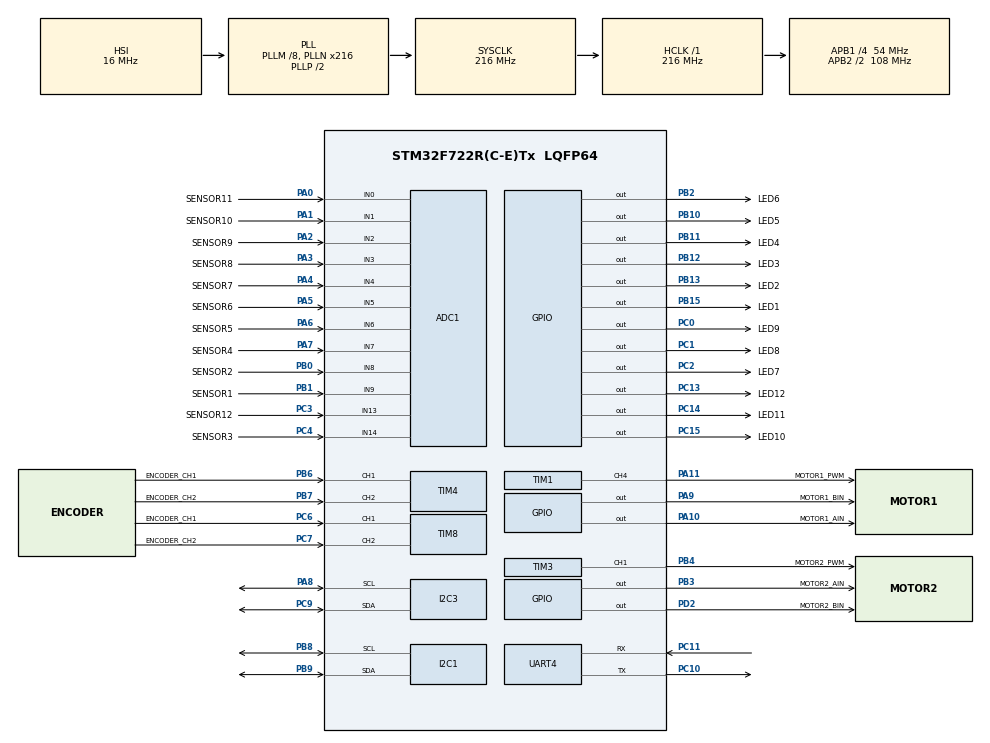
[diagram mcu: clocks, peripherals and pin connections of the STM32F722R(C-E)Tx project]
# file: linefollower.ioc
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ADC1.Channel-0\#ChannelRegularConversion=ADC_CHANNEL_9
ADC1.Channel-1\#ChannelRegularConversion=ADC_CHANNEL_8
ADC1.Channel-10\#ChannelRegularConversion=ADC_CHANNEL_0
ADC1.Channel-11\#ChannelRegularConversion=ADC_CHANNEL_13
ADC1.Channel-2\#ChannelRegularConversion=ADC_CHANNEL_14
ADC1.Channel-3\#ChannelRegularConversion=ADC_CHANNEL_7
ADC1.Channel-4\#ChannelRegularConversion=ADC_CHANNEL_6
ADC1.Channel-5\#ChannelRegularConversion=ADC_CHANNEL_5
ADC1.Channel-6\#ChannelRegularConversion=ADC_CHANNEL_4
ADC1.Channel-7\#ChannelRegularConversion=ADC_CHANNEL_3
ADC1.Channel-8\#ChannelRegularConversion=ADC_CHANNEL_2
ADC1.Channel-9\#ChannelRegularConversion=ADC_CHANNEL_1
ADC1.ContinuousConvMode=DISABLE
ADC1.DMAContinuousRequests=ENABLE
ADC1.EOCSelection=ADC_EOC_SINGLE_CONV
ADC1.ExternalTrigConv=ADC_EXTERNALTRIGCONV_T2_TRGO
ADC1.NbrOfConversion=12
ADC1.NbrOfConversionFlag=1
ADC1.Rank-0\#ChannelRegularConversion=1
ADC1.Rank-1\#ChannelRegularConversion=2
ADC1.Rank-10\#ChannelRegularConversion=11
ADC1.Rank-11\#ChannelRegularConversion=12
ADC1.Rank-2\#ChannelRegularConversion=3
ADC1.Rank-3\#ChannelRegularConversion=4
ADC1.Rank-4\#ChannelRegularConversion=5
ADC1.Rank-5\#ChannelRegularConversion=6
ADC1.Rank-6\#ChannelRegularConversion=7
ADC1.Rank-7\#ChannelRegularConversion=8
ADC1.Rank-8\#ChannelRegularConversion=9
ADC1.Rank-9\#ChannelRegularConversion=10
ADC1.SamplingTime-0\#ChannelRegularConversion=ADC_SAMPLETIME_28CYCLES
ADC1.SamplingTime-1\#ChannelRegularConversion=ADC_SAMPLETIME_28CYCLES
ADC1.SamplingTime-10\#ChannelRegularConversion=ADC_SAMPLETIME_28CYCLES
ADC1.SamplingTime-11\#ChannelRegularConversion=ADC_SAMPLETIME_28CYCLES
ADC1.SamplingTime-2\#ChannelRegularConversion=ADC_SAMPLETIME_28CYCLES
ADC1.SamplingTime-3\#ChannelRegularConversion=ADC_SAMPLETIME_28CYCLES
ADC1.SamplingTime-4\#ChannelRegularConversion=ADC_SAMPLETIME_28CYCLES
ADC1.SamplingTime-5\#ChannelRegularConversion=ADC_SAMPLETIME_28CYCLES
ADC1.SamplingTime-6\#ChannelRegularConversion=ADC_SAMPLETIME_28CYCLES
ADC1.SamplingTime-7\#ChannelRegularConversion=ADC_SAMPLETIME_28CYCLES
ADC1.SamplingTime-8\#ChannelRegularConversion=ADC_SAMPLETIME_28CYCLES
ADC1.SamplingTime-9\#ChannelRegularConversion=ADC_SAMPLETIME_28CYCLES
ADC1.ScanConvMode=ADC_SCAN_ENABLE
ADC1.master=1
CORTEX_M7.CPU_ICache=Disabled
CORTEX_M7.FlashInterface=AXI_Enabled
CORTEX_M7.IsCacheable_Spec=MPU_ACCESS_NOT_CACHEABLE
CORTEX_M7.default_mode_Activation=1
Dma.ADC1.1.Direction=DMA_PERIPH_TO_MEMORY
Dma.ADC1.1.FIFOMode=DMA_FIFOMODE_DISABLE
Dma.ADC1.1.Instance=DMA2_Stream0
Dma.ADC1.1.MemDataAlignment=DMA_MDATAALIGN_HALFWORD
Dma.ADC1.1.MemInc=DMA_MINC_ENABLE
Dma.ADC1.1.Mode=DMA_CIRCULAR
Dma.ADC1.1.PeriphDataAlignment=DMA_PDATAALIGN_HALFWORD
Dma.ADC1.1.PeriphInc=DMA_PINC_DISABLE
Dma.ADC1.1.Priority=DMA_PRIORITY_MEDIUM
Dma.Request0=UART4_RX
Dma.Request1=ADC1
Dma.UART4_RX.0.Direction=DMA_PERIPH_TO_MEMORY
Dma.UART4_RX.0.FIFOMode=DMA_FIFOMODE_DISABLE
Dma.UART4_RX.0.Instance=DMA1_Stream2
Dma.UART4_RX.0.MemDataAlignment=DMA_MDATAALIGN_BYTE
Dma.UART4_RX.0.MemInc=DMA_MINC_ENABLE
Dma.UART4_RX.0.Mode=DMA_NORMAL
Dma.UART4_RX.0.PeriphDataAlignment=DMA_PDATAALIGN_BYTE
Dma.UART4_RX.0.PeriphInc=DMA_PINC_DISABLE
Dma.UART4_RX.0.Priority=DMA_PRIORITY_MEDIUM
I2C1.Timing=0x20404768
I2C3.Timing=0x20404768
Mcu.Family=STM32F7
Mcu.Name=STM32F722R(C-E)Tx
Mcu.Package=LQFP64
NVIC.DMA1_Stream2_IRQn=true\:9\:0\:true\:false\:true\:false\:true\:true
NVIC.DMA2_Stream0_IRQn=true\:6\:0\:true\:false\:true\:false\:true\:true
NVIC.PriorityGroup=NVIC_PRIORITYGROUP_4
NVIC.TIM6_DAC_IRQn=true\:5\:0\:true\:false\:true\:true\:true\:true
NVIC.UART4_IRQn=true\:7\:0\:true\:false\:true\:true\:true\:true
PA0-WKUP.GPIO_Label=SENSOR11
PA0-WKUP.Signal=ADCx_IN0
PA1.GPIO_Label=SENSOR10
PA1.Signal=ADCx_IN1
PA10.GPIO_Label=MOTOR1_AIN
PA10.Signal=GPIO_Output
PA11.GPIO_Label=MOTOR1_PWM
PA11.Signal=S_TIM1_CH4
PA13.Mode=Serial_Wire
PA13.Signal=SYS_JTMS-SWDIO
PA14.Mode=Serial_Wire
PA14.Signal=SYS_JTCK-SWCLK
PA2.GPIO_Label=SENSOR9
PA2.Signal=ADCx_IN2
PA3.GPIO_Label=SENSOR8
PA3.Signal=ADCx_IN3
PA4.GPIO_Label=SENSOR7
PA4.Signal=ADCx_IN4
PA5.GPIO_Label=SENSOR6
PA5.Signal=ADCx_IN5
PA6.GPIO_Label=SENSOR5
PA6.Signal=ADCx_IN6
PA7.GPIO_Label=SENSOR4
PA7.Signal=ADCx_IN7
PA8.Mode=I2C
PA8.Signal=I2C3_SCL
PA9.GPIO_Label=MOTOR1_BIN
PA9.Signal=GPIO_Output
PB0.GPIO_Label=SENSOR2
PB0.Signal=ADCx_IN8
PB1.GPIO_Label=SENSOR1
PB1.Signal=ADCx_IN9
PB10.GPIO_Label=LED5
PB10.Signal=GPIO_Output
PB11.GPIO_Label=LED4
PB11.Signal=GPIO_Output
PB12.GPIO_Label=LED3
PB12.Signal=GPIO_Output
PB13.GPIO_Label=LED2
PB13.Signal=GPIO_Output
PB15.GPIO_Label=LED1
PB15.Signal=GPIO_Output
PB2.GPIO_Label=LED6
PB2.Signal=GPIO_Output
PB3.GPIO_Label=MOTOR2_AIN
PB3.Signal=GPIO_Output
PB4.GPIO_Label=MOTOR2_PWM
PB4.Signal=S_TIM3_CH1
PB6.GPIO_Label=ENCODER_CH1
PB6.Signal=S_TIM4_CH1
PB7.GPIO_Label=ENCODER_CH2
PB7.Signal=S_TIM4_CH2
PB8.Mode=I2C
PB8.Signal=I2C1_SCL
PB9.Mode=I2C
PB9.Signal=I2C1_SDA
PC0.GPIO_Label=LED9
PC0.Signal=GPIO_Output
PC1.GPIO_Label=LED8
PC1.Signal=GPIO_Output
PC10.Mode=Asynchronous
PC10.Signal=UART4_TX
PC11.Mode=Asynchronous
PC11.Signal=UART4_RX
PC13.GPIO_Label=LED12
PC13.Signal=GPIO_Output
PC14-OSC32_IN.GPIO_Label=LED11
PC14-OSC32_IN.Signal=GPIO_Output
PC15-OSC32_OUT.GPIO_Label=LED10
PC15-OSC32_OUT.Signal=GPIO_Output
PC2.GPIO_Label=LED7
PC2.Signal=GPIO_Output
PC3.GPIO_Label=SENSOR12
PC3.Signal=ADCx_IN13
PC4.GPIO_Label=SENSOR3
PC4.Signal=ADCx_IN14
PC6.GPIO_Label=ENCODER_CH1
PC6.Signal=S_TIM8_CH1
PC7.GPIO_Label=ENCODER_CH2
PC7.Signal=S_TIM8_CH2
PC9.Mode=I2C
PC9.Signal=I2C3_SDA
PD2.GPIO_Label=MOTOR2_BIN
PD2.Signal=GPIO_Output
PH0-OSC_IN.Mode=HSE-External-Oscillator
PH0-OSC_IN.Signal=RCC_OSC_IN
PH1-OSC_OUT.Mode=HSE-External-Oscillator
PH1-OSC_OUT.Signal=RCC_OSC_OUT
ProjectManager.HeapSize=0x200
ProjectManager.StackSize=0x400
ProjectManager.TargetToolchain=Makefile
RCC.AHBFreq_Value=216000000
RCC.APB1CLKDivider=RCC_HCLK_DIV4
RCC.APB1Freq_Value=54000000
RCC.APB1TimFreq_Value=108000000
RCC.APB2CLKDivider=RCC_HCLK_DIV2
RCC.APB2Freq_Value=108000000
RCC.APB2TimFreq_Value=216000000
RCC.CortexFreq_Value=216000000
RCC.HCLKFreq_Value=216000000
RCC.HSE_VALUE=25000000
RCC.HSI_VALUE=16000000
RCC.LSE_VALUE=32768
RCC.PLLM=8
RCC.PLLN=216
RCC.SYSCLKFreq_VALUE=216000000
RCC.SYSCLKSource=RCC_SYSCLKSOURCE_PLLCLK
RCC.USBFreq_Value=216000000
RCC.VCOOutputFreq_Value=432000000
SH.ADCx_IN0.0=ADC1_IN0,IN0
SH.ADCx_IN1.0=ADC1_IN1,IN1
SH.ADCx_IN13.0=ADC1_IN13,IN13
SH.ADCx_IN14.0=ADC1_IN14,IN14
SH.ADCx_IN2.0=ADC1_IN2,IN2
SH.ADCx_IN3.0=ADC1_IN3,IN3
SH.ADCx_IN4.0=ADC1_IN4,IN4
SH.ADCx_IN5.0=ADC1_IN5,IN5
SH.ADCx_IN6.0=ADC1_IN6,IN6
SH.ADCx_IN7.0=ADC1_IN7,IN7
SH.ADCx_IN8.0=ADC1_IN8,IN8
SH.ADCx_IN9.0=ADC1_IN9,IN9
SH.S_TIM1_CH4.0=TIM1_CH4,PWM Generation4 CH4
SH.S_TIM3_CH1.0=TIM3_CH1,PWM Generation1 CH1
SH.S_TIM4_CH1.0=TIM4_CH1,Encoder_Interface
SH.S_TIM4_CH2.0=TIM4_CH2,Encoder_Interface
SH.S_TIM8_CH1.0=TIM8_CH1,Encoder_Interface
SH.S_TIM8_CH2.0=TIM8_CH2,Encoder_Interface
TIM1.Channel-PWM\ Generation4\ CH4=TIM_CHANNEL_4
TIM1.Period=999
TIM1.Prescaler=2
TIM2.Period=249
TIM2.Prescaler=2159
TIM2.TIM_MasterOutputTrigger=TIM_TRGO_UPDATE
TIM3.Channel-PWM\ Generation1\ CH1=TIM_CHANNEL_1
TIM3.Period=999
TIM3.Prescaler=2
TIM6.Period=2499
TIM6.Prescaler=2159
TIM8.IC2Filter=0
VP_CRC_VS_CRC.Mode=CRC_Activate
VP_TIM2_VS_ClockSourceINT.Mode=Internal
VP_TIM6_VS_ClockSourceINT.Mode=Enable_Timer
board=custom

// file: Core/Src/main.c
/* USER CODE BEGIN Header */
/**
  ******************************************************************************
  * @file           : main.c
  * @brief          : Main program body
  ******************************************************************************
  * @attention
  *
  * Copyright (c) 2024 STMicroelectronics.
  * All rights reserved.
  *
  * This software is licensed under terms that can be found in the LICENSE file
  * in the root directory of this software component.
  * If no LICENSE file comes with this software, it is provided AS-IS.
  *
  ******************************************************************************
  */
/* USER CODE END Header */
#include "main.h"
#include "adc.h"
#include "crc.h"
#include "dma.h"
#include "i2c.h"
#include "tim.h"
#include "usart.h"
#include "gpio.h"

/* USER CODE BEGIN Includes */
#include "lf_main.h"
/* USER CODE END Includes */

/* USER CODE BEGIN PV */
extern const Sensors_Config_T sensorsConfig;

static NVM_Layout_T NvmBlock;
static uint8_t ScpBuffer[SCP_BUFFER_SIZE];

LineFollower_T LineFollower = {
    .debugModeTimer = &htim6,
    .cycleCountReg = &DWT->CYCCNT,
    .nvmInstance = {
        .defaultData = (const uint8_t *)&NvmDefaultData,
        .size = sizeof(NVM_Layout_T),
        .sector = NVM_SECTOR_USED
    },
    .nvmBlock = &NvmBlock,
    .scpInstance = {
        .buffer = ScpBuffer,
        .size = SCP_BUFFER_SIZE,
        .huart = &huart4,
        .commands = lineFollowerCommands,
        .numCommands = sizeof(lineFollowerCommands) / sizeof(lineFollowerCommands[0]),
        .errorHandler = NULL
    },
    .pidSensorInstance = {
        .settings = &NvmBlock.pidStgSensor
    },
    .pidEncoderLeftInstance = {
      .settings =&NvmBlock.pidStgEncoderLeft
    },
    .pidEncoderRightInstance = {
      .settings =&NvmBlock.pidStgEncoderRight
    },
    .encoderLeft = {
      .settings = &encoderSettings,
      .htim = &htim8
    },
    .encoderRight = {
      .settings = &encoderSettings,
      .htim = &htim4
    },
    .sensorsInstance = {
      .config = &sensorsConfig
    },
    .motorLeft = &LeftMotor,
    .motorRight = &RightMotor
};
/* USER CODE END PV */

void SystemClock_Config(void);
static void MPU_Config(void);

/* USER CODE BEGIN 0 */
void HAL_TIM_PeriodElapsedCallback(TIM_HandleTypeDef *htim)
{
    if (htim == &htim6)
    {
        LF_DebugModeTimerCallback(&LineFollower);
    }
}
/* USER CODE END 0 */

int main(void)
{

  /* MPU Configuration--------------------------------------------------------*/
  MPU_Config();

  /* MCU Configuration--------------------------------------------------------*/

  /* Reset of all peripherals, Initializes the Flash interface and the Systick. */
  HAL_Init();

  /* Configure the system clock */
  SystemClock_Config();

  /* Initialize all configured peripherals */
  MX_GPIO_Init();
  MX_DMA_Init();
  MX_ADC1_Init();
  MX_I2C1_Init();
  MX_UART4_Init();
  MX_TIM3_Init();
  MX_TIM4_Init();
  MX_I2C3_Init();
  MX_TIM1_Init();
  MX_TIM8_Init();
  MX_CRC_Init();
  MX_TIM2_Init();
  MX_TIM6_Init();
  /* USER CODE BEGIN 2 */
  LF_Init(&LineFollower);
  __enable_irq();
  /* USER CODE END 2 */

  /* Infinite loop */
  /* USER CODE BEGIN WHILE */
  while (1)
  {
    LF_MainFunction(&LineFollower);
    /* USER CODE END WHILE */

  }
}

void SystemClock_Config(void)
{
  RCC_OscInitTypeDef RCC_OscInitStruct = {0};
  RCC_ClkInitTypeDef RCC_ClkInitStruct = {0};

  /** Configure the main internal regulator output voltage
  */
  __HAL_RCC_PWR_CLK_ENABLE();
  __HAL_PWR_VOLTAGESCALING_CONFIG(PWR_REGULATOR_VOLTAGE_SCALE1);

  /** Initializes the RCC Oscillators according to the specified parameters
  * in the RCC_OscInitTypeDef structure.
  */
  RCC_OscInitStruct.OscillatorType = RCC_OSCILLATORTYPE_HSI;
  RCC_OscInitStruct.HSIState = RCC_HSI_ON;
  RCC_OscInitStruct.HSICalibrationValue = RCC_HSICALIBRATION_DEFAULT;
  RCC_OscInitStruct.PLL.PLLState = RCC_PLL_ON;
  RCC_OscInitStruct.PLL.PLLSource = RCC_PLLSOURCE_HSI;
  RCC_OscInitStruct.PLL.PLLM = 8;
  RCC_OscInitStruct.PLL.PLLN = 216;
  RCC_OscInitStruct.PLL.PLLP = RCC_PLLP_DIV2;
  RCC_OscInitStruct.PLL.PLLQ = 2;
  if (HAL_RCC_OscConfig(&RCC_OscInitStruct) != HAL_OK)
  {
    Error_Handler();
  }

  /** Activate the Over-Drive mode
  */
  if (HAL_PWREx_EnableOverDrive() != HAL_OK)
  {
    Error_Handler();
  }

  /** Initializes the CPU, AHB and APB buses clocks
  */
  RCC_ClkInitStruct.ClockType = RCC_CLOCKTYPE_HCLK|RCC_CLOCKTYPE_SYSCLK
                              |RCC_CLOCKTYPE_PCLK1|RCC_CLOCKTYPE_PCLK2;
  RCC_ClkInitStruct.SYSCLKSource = RCC_SYSCLKSOURCE_PLLCLK;
  RCC_ClkInitStruct.AHBCLKDivider = RCC_SYSCLK_DIV1;
  RCC_ClkInitStruct.APB1CLKDivider = RCC_HCLK_DIV4;
  RCC_ClkInitStruct.APB2CLKDivider = RCC_HCLK_DIV2;

  if (HAL_RCC_ClockConfig(&RCC_ClkInitStruct, FLASH_LATENCY_7) != HAL_OK)
  {
    Error_Handler();
  }
}

 /* MPU Configuration */

void MPU_Config(void)
{
  MPU_Region_InitTypeDef MPU_InitStruct = {0};

  /* Disables the MPU */
  HAL_MPU_Disable();

  /** Initializes and configures the Region and the memory to be protected
  */
  MPU_InitStruct.Enable = MPU_REGION_ENABLE;
  MPU_InitStruct.Number = MPU_REGION_NUMBER0;
  MPU_InitStruct.BaseAddress = 0x0;
  MPU_InitStruct.Size = MPU_REGION_SIZE_4GB;
  MPU_InitStruct.SubRegionDisable = 0x87;
  MPU_InitStruct.TypeExtField = MPU_TEX_LEVEL0;
  MPU_InitStruct.AccessPermission = MPU_REGION_NO_ACCESS;
  MPU_InitStruct.DisableExec = MPU_INSTRUCTION_ACCESS_DISABLE;
  MPU_InitStruct.IsShareable = MPU_ACCESS_SHAREABLE;
  MPU_InitStruct.IsCacheable = MPU_ACCESS_NOT_CACHEABLE;
  MPU_InitStruct.IsBufferable = MPU_ACCESS_NOT_BUFFERABLE;

  HAL_MPU_ConfigRegion(&MPU_InitStruct);
  /* Enables the MPU */
  HAL_MPU_Enable(MPU_PRIVILEGED_DEFAULT);

}

void Error_Handler(void)
{
  __disable_irq();
  while (1)
  {
  }
}
